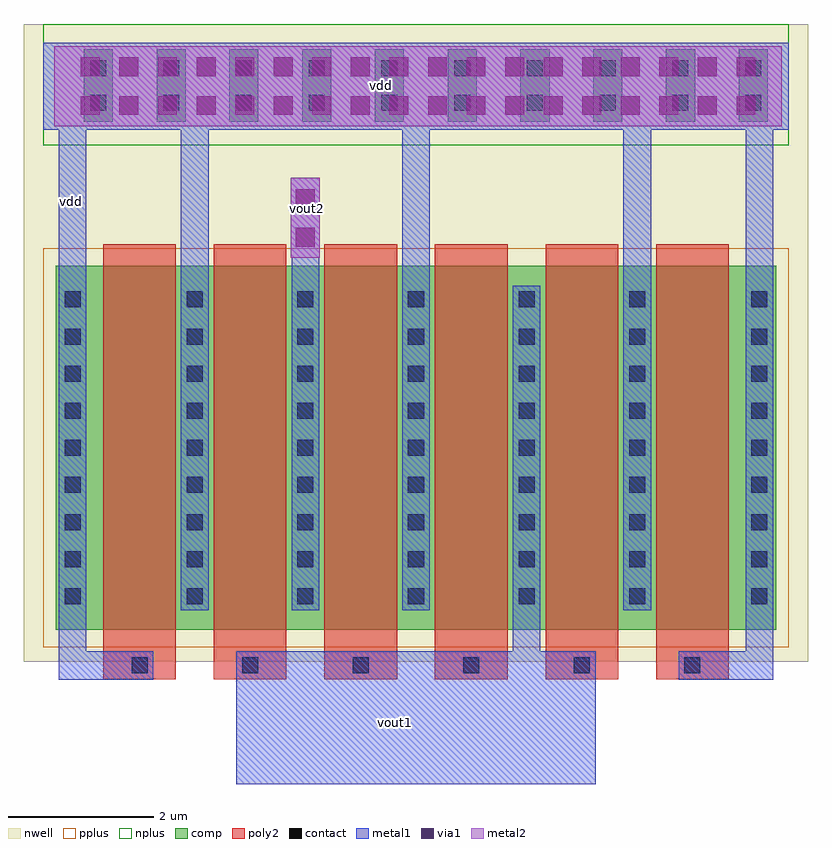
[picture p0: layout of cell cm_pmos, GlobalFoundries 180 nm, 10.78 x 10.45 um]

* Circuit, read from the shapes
.subckt cm_pmos vdd vout1 vout2
XM1 vdd vdd vdd vdd pfet_03v3 w=5u l=1u m=2
XM2 vout2 vout1 vdd vdd pfet_03v3 w=5u l=1u m=2
XM3 vout1 vout1 vdd vdd pfet_03v3 w=5u l=1u m=2
.ends

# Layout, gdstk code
from math import pi, radians
import gdstk
lib = gdstk.Library(unit=1e-6, precision=1e-09)
def R(c, l, rs):  # rectangles x0, y0, x1, y1
    for r in rs: c.add(gdstk.rectangle(r[:2], r[2:], *l))
def A(c, l, x, y, w, h, nx, ny, dx, dy):  # array of equal rectangles
    R(c, l, [(x+i*dx, y+j*dy, x+i*dx+w, y+j*dy+h) for i in range(nx) for j in range(ny)])
nwell = (21, 0)
comp = (22, 0)
poly2 = (30, 0)
pplus = (31, 0)
nplus = (32, 0)
contact = (33, 0)
metal1 = (34, 0)
via1 = (35, 0)
metal2 = (36, 0)

via_dev_4 = lib.new_cell('via_dev$4')
R(via_dev_4, comp, [(0,0,0.4,1)])
R(via_dev_4, contact, [(0.09,0.15,0.31,0.37), (0.09,0.63,0.31,0.85)])
R(via_dev_4, metal1, [(0,0,0.4,1)])

via_dev_11 = lib.new_cell('via_dev$11')
R(via_dev_11, metal1, [(0,0,10,1.1)])
A(via_dev_11, via1, 0.365, 0.155, 0.26, 0.26, 18, 2, 0.53, 0.53)
R(via_dev_11, metal2, [(0,0,10,1.1)])

via_dev_3 = lib.new_cell('via_dev$3')
R(via_dev_3, metal1, [(0,0,0.4,1.1)])
R(via_dev_3, via1, [(0.07,0.155,0.33,0.415), (0.07,0.685,0.33,0.945)])
R(via_dev_3, metal2, [(0,0,0.4,1.1)])

pfet = lib.new_cell('pfet')
R(pfet, nwell, [(-0.9,-0.44,9.88,5.44)])
R(pfet, comp, [(-0.46,0,0,5), (0,0,8.98,5), (8.98,0,9.44,5)])
A(pfet, poly2, 0.19, -0.3, 1, 5.6, 6, 1, 1.52, 0)
A(pfet, poly2, 0.19, 5.3, 1, 0.38, 6, 1, 1.52, 0)
R(pfet, pplus, [(-0.63,-0.24,9.61,5.24)])
A(pfet, contact, -0.34, 0.35, 0.22, 0.22, 1, 9, 0, 0.51)
A(pfet, contact, 1.34, 0.35, 0.22, 0.22, 5, 9, 1.52, 0.51)
A(pfet, contact, 9.1, 0.35, 0.22, 0.22, 1, 9, 0, 0.51)
A(pfet, contact, 0.58, 5.38, 0.22, 0.22, 6, 1, 1.52, 0)
A(pfet, metal1, 1.26, 0.27, 0.38, 4.46, 5, 1, 1.52, 0)
A(pfet, metal1, 0.5, 5.299, 0.38, 0.382, 6, 1, 1.52, 0)
R(pfet, metal1, [(-0.42,0.27,-0.04,4.73), (9.02,0.27,9.4,4.73)])

cm_pmos = lib.new_cell('cm_pmos')
R(cm_pmos, nwell, [(0,19.595,10.78,28.36)])
R(cm_pmos, nplus, [(0.27,26.695,10.51,28.36)])
A(cm_pmos, metal1, 2.16, 24.765, 0.38, 2.14, 3, 1, 3.04, 0)
R(cm_pmos, metal1, [(2.92,17.915,7.86,19.74), (0.48,19.35,0.86,20.305), (0.86,19.35,1.78,19.74), (9,19.35,9.92,19.74), (9.92,19.35,10.3,20.305), (6.72,19.74,7.1,20.305), (0.48,24.765,0.86,26.905), (3.68,24.765,4.06,25.145), (9.92,24.765,10.3,26.905), (0.27,26.905,10.51,28.105), (0.27,26.905,10.51,28.105)])
R(cm_pmos, metal2, [(3.67,25.145,4.07,26.245)])
r = gdstk.Reference(via_dev_4, (0.825,27.015)); r.repetition = gdstk.Repetition(10, 1, v1=(1,0), v2=(0,0)); cm_pmos.add(r)
cm_pmos.add(gdstk.Reference(via_dev_11, (0.42,26.955)))
cm_pmos.add(gdstk.Reference(via_dev_3, (3.67,25.145)))
cm_pmos.add(gdstk.Reference(pfet, (9.88,25.035), rotation=pi))
cm_pmos.add(gdstk.Label('vout1', (5.105,18.76), layer=34, texttype=10))
cm_pmos.add(gdstk.Label('vout2', (3.9,25.83), layer=34, texttype=10))
cm_pmos.add(gdstk.Label('vdd', (0.655,25.915), layer=34, texttype=10))
cm_pmos.add(gdstk.Label('vdd', (4.915,27.515), layer=34, texttype=10))

lib.write_gds('cm_pmos.gds')
